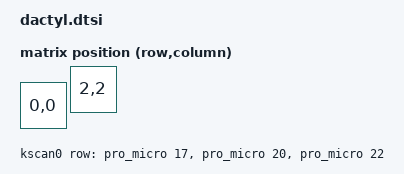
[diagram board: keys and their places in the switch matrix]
#include <dt-bindings/zmk/matrix_transform.h>

/ {
    chosen {
		zmk,kscan = &kscan0;
        zmk,phsyical-layout = &default_layout;
	};
	kscan0: kscan0 {
	  compatible = "zmk,kscan-gpio-matrix";
	  diode-direction = "col2row";
	  wakeup-source;

	  row-gpios
	  	= <&pro_micro 17 (GPIO_ACTIVE_HIGH | GPIO_PULL_DOWN)>
	  	, <&pro_micro 20 (GPIO_ACTIVE_HIGH | GPIO_PULL_DOWN)>
	  	, <&pro_micro 22 (GPIO_ACTIVE_HIGH | GPIO_PULL_DOWN)>
		;
	};
	default_layout: default_layout {
	  compatible = "zmk,phsyical-layout";
	  display-name = "Default Layout";
	  transform = <&default_transform>;

	  keys
		= <&key_physical_attrs 100 100    0   61       0     0     0>
        , <&key_physical_attrs 100 100  100   28       0     0     0>
		, <&key_physical_attrs 100 100  100   28       0     0     0>
		, <&key_physical_attrs 100 100  100   28       0     0     0>
		, <&key_physical_attrs 100 100  100   28       0     0     0>
		, <&key_physical_attrs 100 100  100   28       0     0     0>
		, <&key_physical_attrs 100 100  100   28       0     0     0>
		, <&key_physical_attrs 100 100  100   28       0     0     0>
		, <&key_physical_attrs 100 100  100   28       0     0     0>
		;
	};

	default_transform: keymap_transform0 {
		compatible = "zmk,matrix_transform";
		columns = <3>;
		rows = <3>;
		map = <
	  		RC(0,0) RC(0,1) RC(0,2) 
	  		RC(1,0) RC(1,1) RC(1,2)
	  		RC(2,0) RC(2,1) RC(2,2)
		>;
  	};


};
